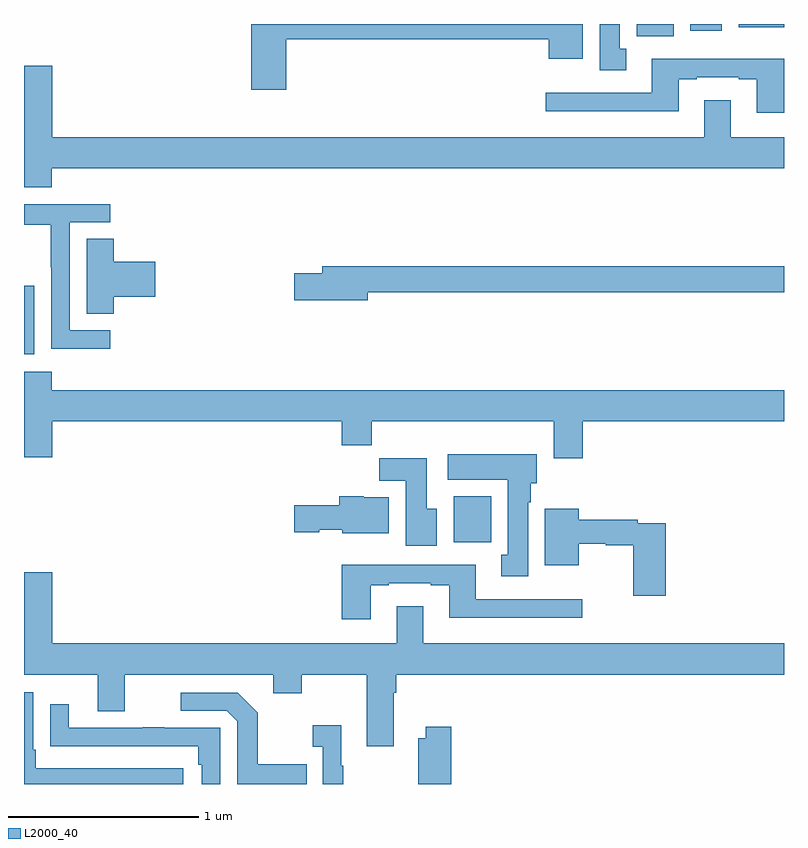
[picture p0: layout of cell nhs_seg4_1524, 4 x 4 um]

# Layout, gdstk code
import gdstk
lib = gdstk.Library(unit=1e-6, precision=1e-09)
def R(c, l, rs):  # rectangles x0, y0, x1, y1
    for r in rs: c.add(gdstk.rectangle(r[:2], r[2:], *l))
def P(c, l, *ps):  # polygons
    for p in ps: c.add(gdstk.Polygon(p, *l))
L2000_40 = (2000, 40)

nhs_seg4_1524 = lib.new_cell('nhs_seg4_1524')
R(nhs_seg4_1524, L2000_40, [(191.261,808.172,191.458,808.414), (189,809.162,189.055,809.523), (192.224,810.836,192.421,810.9), (192.506,810.864,192.673,810.9), (192.761,810.884,193,810.9)])
P(nhs_seg4_1524, L2000_40, [(192.169,810.77),(192.136,810.77),(192.136,810.9),(192.029,810.9),(192.029,810.657),(192.169,810.657)],
  [(190.379,810.82),(191.762,810.82),(191.762,810.716),(191.941,810.716),(191.941,810.9),(190.196,810.9),(190.196,810.555),(190.379,810.555)],
  [(193,810.718),(192.305,810.718),(192.305,810.537),(191.745,810.537),(191.745,810.44),(192.445,810.44),(192.445,810.609),(192.541,810.609),(192.541,810.621),(192.761,810.621),(192.761,810.609),(192.857,810.609),(192.857,810.432),(193,810.432)],
  [(189.146,810.14),(193,810.14),(193,810.304),(192.721,810.304),(192.721,810.499),(192.581,810.499),(192.581,810.304),(189.148,810.304),(189.148,810.679),(189,810.679),(189,810.041),(189.146,810.041)],
  [(189.454,809.289),(189.24,809.289),(189.24,809.856),(189.454,809.856),(189.454,809.952),(189,809.952),(189,809.844),(189.142,809.844),(189.142,809.62),(189.144,809.62),(189.144,809.191),(189.454,809.191)],
  [(189.473,809.465),(189.691,809.465),(189.691,809.648),(189.473,809.648),(189.473,809.771),(189.329,809.771),(189.329,809.374),(189.473,809.374)],
  [(190.81,809.488),(193,809.488),(193,809.624),(190.571,809.624),(190.571,809.588),(190.422,809.588),(190.422,809.446),(190.81,809.446)],
  [(191.942,808.808),(193,808.808),(193,808.972),(189.146,808.972),(189.146,809.071),(189,809.071),(189,808.62),(189.148,808.62),(189.148,808.808),(190.673,808.808),(190.673,808.684),(190.829,808.684),(190.829,808.808),(191.789,808.808),(191.789,808.614),(191.942,808.614)],
  [(191.653,808.382),(191.668,808.382),(191.668,808.482),(191.698,808.482),(191.698,808.636),(191.229,808.636),(191.229,808.502),(191.546,808.502),(191.546,808.106),(191.513,808.106),(191.513,807.993),(191.653,807.993)],
  [(191.173,808.348),(191.119,808.348),(191.119,808.615),(190.87,808.615),(190.87,808.496),(191.009,808.496),(191.009,808.155),(191.173,808.155)],
  [(190.921,808.408),(190.788,808.408),(190.788,808.414),(190.658,808.414),(190.658,808.368),(190.422,808.368),(190.422,808.226),(190.554,808.226),(190.554,808.238),(190.674,808.238),(190.674,808.22),(190.921,808.22)],
  [(192.377,808.272),(192.23,808.272),(192.23,808.292),(191.92,808.292),(191.92,808.348),(191.741,808.348),(191.741,808.052),(191.92,808.052),(191.92,808.164),(192.063,808.164),(192.063,808.156),(192.206,808.156),(192.206,807.891),(192.377,807.891)],
  [(190.825,807.945),(190.921,807.945),(190.921,807.957),(191.141,807.957),(191.141,807.945),(191.237,807.945),(191.237,807.776),(191.938,807.776),(191.938,807.873),(191.377,807.873),(191.377,808.053),(190.913,808.053),(190.913,808.054),(190.673,808.054),(190.673,807.768),(190.825,807.768)],
  [(190.945,807.38),(190.958,807.38),(190.958,807.476),(193,807.476),(193,807.64),(191.101,807.64),(191.101,807.835),(190.961,807.835),(190.961,807.64),(189.148,807.64),(189.148,808.015),(189,808.015),(189,807.476),(189.389,807.476),(189.389,807.282),(189.529,807.282),(189.529,807.476),(190.313,807.476),(190.313,807.377),(190.461,807.377),(190.461,807.476),(190.805,807.476),(190.805,807.099),(190.945,807.099)],
  [(189.838,806.982),(189.061,806.982),(189.061,807.079),(189.048,807.079),(189.048,807.384),(189,807.384),(189,806.9),(189.838,806.9)],
  [(190.487,807.003),(190.231,807.003),(190.231,807.275),(190.125,807.381),(189.825,807.381),(189.825,807.285),(190.068,807.285),(190.122,807.231),(190.122,806.9),(190.487,806.9)],
  [(190.032,807.195),(189.737,807.195),(189.737,807.2),(189.625,807.2),(189.625,807.195),(189.235,807.195),(189.235,807.319),(189.139,807.319),(189.139,807.1),(189.241,807.1),(189.241,807.099),(189.916,807.099),(189.916,807.002),(189.936,807.002),(189.936,806.9),(190.032,806.9)],
  [(190.681,806.995),(190.669,806.995),(190.669,807.208),(190.521,807.208),(190.521,807.095),(190.572,807.095),(190.572,806.9),(190.681,806.9)],
  [(191.249,807.202),(191.114,807.202),(191.114,807.142),(191.074,807.142),(191.074,806.9),(191.249,806.9)])

lib.write_gds('nhs_seg4_1524.gds')
